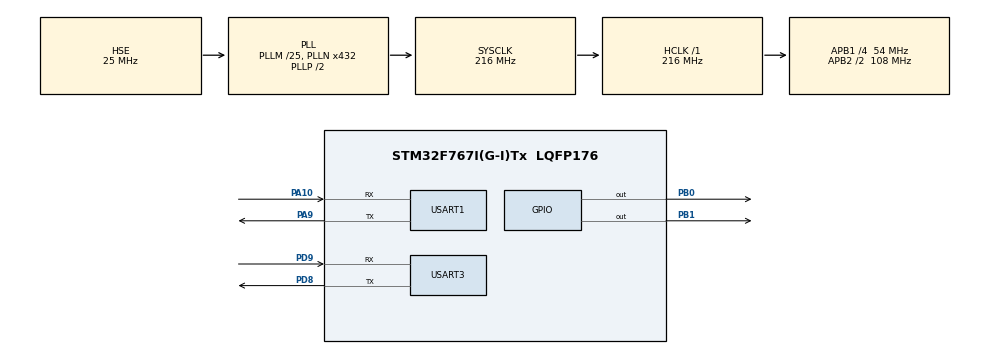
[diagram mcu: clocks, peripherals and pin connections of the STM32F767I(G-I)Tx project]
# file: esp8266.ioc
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CORTEX_M7.ART_ACCLERATOR_ENABLE=1
CORTEX_M7.CPU_DCache=Enabled
CORTEX_M7.CPU_ICache=Enabled
CORTEX_M7.PREFETCH_ENABLE=1
Mcu.Family=STM32F7
Mcu.Name=STM32F767I(G-I)Tx
Mcu.Package=LQFP176
NVIC.PriorityGroup=NVIC_PRIORITYGROUP_2
NVIC.TIM3_IRQn=true\:1\:3\:true\:false\:true
NVIC.USART1_IRQn=true\:3\:3\:true\:false\:true
NVIC.USART3_IRQn=true\:3\:2\:true\:false\:true
PA10.Mode=Asynchronous
PA10.Signal=USART1_RX
PA9.Mode=Asynchronous
PA9.Signal=USART1_TX
PB0.GPIO_Speed=GPIO_SPEED_FREQ_HIGH
PB0.Signal=GPIO_Output
PB1.GPIO_Speed=GPIO_SPEED_FREQ_HIGH
PB1.Signal=GPIO_Output
PD8.Mode=Asynchronous
PD8.Signal=USART3_TX
PD9.Mode=Asynchronous
PD9.Signal=USART3_RX
PH0/OSC_IN.Mode=HSE-External-Oscillator
PH0/OSC_IN.Signal=RCC_OSC_IN
PH1/OSC_OUT.Mode=HSE-External-Oscillator
PH1/OSC_OUT.Signal=RCC_OSC_OUT
ProjectManager.HeapSize=0x200
ProjectManager.StackSize=0x400
ProjectManager.TargetToolchain=MDK-ARM V5
RCC.AHBFreq_Value=216000000
RCC.APB1CLKDivider=RCC_HCLK_DIV4
RCC.APB1Freq_Value=54000000
RCC.APB1TimFreq_Value=108000000
RCC.APB2CLKDivider=RCC_HCLK_DIV2
RCC.APB2Freq_Value=108000000
RCC.APB2TimFreq_Value=216000000
RCC.CortexFreq_Value=216000000
RCC.HCLKFreq_Value=216000000
RCC.HSE_VALUE=25000000
RCC.HSI_VALUE=16000000
RCC.LSE_VALUE=32768
RCC.PLLM=25
RCC.PLLN=432
RCC.PLLSourceVirtual=RCC_PLLSOURCE_HSE
RCC.SYSCLKFreq_VALUE=216000000
RCC.SYSCLKSource=RCC_SYSCLKSOURCE_PLLCLK
RCC.USBFreq_Value=216000000
RCC.VCOOutputFreq_Value=432000000
TIM3.Period=4999
TIM3.Prescaler=10799
USART1.WordLength=UART_WORDLENGTH_8B
USART3.WordLength=UART_WORDLENGTH_8B
VP_TIM3_VS_ClockSourceINT.Mode=Internal
board=esp8266

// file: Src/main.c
/**
  ******************************************************************************
  * File Name          : main.c
  * Description        : Main program body
  ******************************************************************************
  *
  * COPYRIGHT(c) 2019 STMicroelectronics
  *
  * Redistribution and use in source and binary forms, with or without modification,
  * are permitted provided that the following conditions are met:
  *   1. Redistributions of source code must retain the above copyright notice,
  *      this list of conditions and the following disclaimer.
  *   2. Redistributions in binary form must reproduce the above copyright notice,
  *      this list of conditions and the following disclaimer in the documentation
  *      and/or other materials provided with the distribution.
  *   3. Neither the name of STMicroelectronics nor the names of its contributors
  *      may be used to endorse or promote products derived from this software
  *      without specific prior written permission.
  *
  * THIS SOFTWARE IS PROVIDED BY THE COPYRIGHT HOLDERS AND CONTRIBUTORS "AS IS"
  * AND ANY EXPRESS OR IMPLIED WARRANTIES, INCLUDING, BUT NOT LIMITED TO, THE
  * IMPLIED WARRANTIES OF MERCHANTABILITY AND FITNESS FOR A PARTICULAR PURPOSE ARE
  * DISCLAIMED. IN NO EVENT SHALL THE COPYRIGHT HOLDER OR CONTRIBUTORS BE LIABLE
  * FOR ANY DIRECT, INDIRECT, INCIDENTAL, SPECIAL, EXEMPLARY, OR CONSEQUENTIAL
  * DAMAGES (INCLUDING, BUT NOT LIMITED TO, PROCUREMENT OF SUBSTITUTE GOODS OR
  * SERVICES; LOSS OF USE, DATA, OR PROFITS; OR BUSINESS INTERRUPTION) HOWEVER
  * CAUSED AND ON ANY THEORY OF LIABILITY, WHETHER IN CONTRACT, STRICT LIABILITY,
  * OR TORT (INCLUDING NEGLIGENCE OR OTHERWISE) ARISING IN ANY WAY OUT OF THE USE
  * OF THIS SOFTWARE, EVEN IF ADVISED OF THE POSSIBILITY OF SUCH DAMAGE.
  *
  ******************************************************************************
  */
#include "stm32f7xx_hal.h"

/* USER CODE BEGIN Includes */
#include "esp8266cmd.h"
#include "string.h"
#include "cJSON.h"
/* USER CODE END Includes */

TIM_HandleTypeDef htim3;

UART_HandleTypeDef huart1;
UART_HandleTypeDef huart3;

/* USER CODE BEGIN PV */
/* Private variables ---------------------------------------------------------*/
char u3rxbuff[1];//接收缓冲
char esp8266Data[200];//需要的数据
int recDataL=-1;
char hasData='f';
char *request="{\"token\":\"oEMVz2PiKS\",\"need\":\"get\"}\r\n";//请求信息
/* USER CODE END PV */

void SystemClock_Config(void);
void Error_Handler(void);
static void MX_GPIO_Init(void);
static void MX_USART1_UART_Init(void);
static void MX_USART3_UART_Init(void);
static void MX_TIM3_Init(void);

/* USER CODE BEGIN PFP */
/* Private function prototypes -----------------------------------------------*/
void clearData(void);
void dealData(void);
char* itoa(int val, int base);//数字转字符串
/* USER CODE END PFP */

int main(void)
{

  /* Enable I-Cache-------------------------------------------------------------*/
  SCB_EnableICache();

  /* Enable D-Cache-------------------------------------------------------------*/
  SCB_EnableDCache();

  /* MCU Configuration----------------------------------------------------------*/

  /* Reset of all peripherals, Initializes the Flash interface and the Systick. */
  HAL_Init();

  /* Configure the system clock */
  SystemClock_Config();

  /* Initialize all configured peripherals */
  MX_GPIO_Init();
  MX_USART1_UART_Init();
  MX_USART3_UART_Init();
  MX_TIM3_Init();

  /* USER CODE BEGIN 2 */
	HAL_TIM_Base_Start_IT(&htim3); //

	HAL_UART_Receive_IT(&huart3, (uint8_t *)u3rxbuff, 1);//开始接收数据

	resetWifi(&huart3);//重置wifi
	HAL_Delay(3000);
	noEcho(&huart3);//取消命令回显
	linkWifi(&huart3);//连接wifi
	HAL_Delay(5000);

  /* USER CODE END 2 */

  /* Infinite loop */
  while (1)
  {

  /* USER CODE BEGIN 3 */
	if(hasData=='t')//如果有数据
	{
		dealData();//处理数据
	}
	char requestL[20]="AT+CIPSEND=";//发送数据长度命令 详看esp8266手册

	openTCP(&huart3);//打开连接
	HAL_Delay(1000);
	char *strl;
	strl=itoa(strlen(request),10);
	strcat(requestL,strl);
	strcat(requestL,"\r\n");

	sendCmd(&huart3,requestL);
  HAL_Delay(500);
	sendCmd(&huart3,request);//发送请求内容
	HAL_Delay(500);
		if(hasData=='t')
	{
		dealData();
	}
	//closeTCP(&huart3);//服务器自动关闭tcp，这里可以不关闭
	HAL_Delay(1000);
  }

  /* USER CODE END 3 */

}

/** System Clock Configuration
*/
void SystemClock_Config(void)
{

  RCC_OscInitTypeDef RCC_OscInitStruct;
  RCC_ClkInitTypeDef RCC_ClkInitStruct;
  RCC_PeriphCLKInitTypeDef PeriphClkInitStruct;

  __HAL_RCC_PWR_CLK_ENABLE();

  __HAL_PWR_VOLTAGESCALING_CONFIG(PWR_REGULATOR_VOLTAGE_SCALE1);

  RCC_OscInitStruct.OscillatorType = RCC_OSCILLATORTYPE_HSE;
  RCC_OscInitStruct.HSEState = RCC_HSE_ON;
  RCC_OscInitStruct.PLL.PLLState = RCC_PLL_ON;
  RCC_OscInitStruct.PLL.PLLSource = RCC_PLLSOURCE_HSE;
  RCC_OscInitStruct.PLL.PLLM = 25;
  RCC_OscInitStruct.PLL.PLLN = 432;
  RCC_OscInitStruct.PLL.PLLP = RCC_PLLP_DIV2;
  RCC_OscInitStruct.PLL.PLLQ = 2;
  if (HAL_RCC_OscConfig(&RCC_OscInitStruct) != HAL_OK)
  {
    Error_Handler();
  }

  if (HAL_PWREx_EnableOverDrive() != HAL_OK)
  {
    Error_Handler();
  }

  RCC_ClkInitStruct.ClockType = RCC_CLOCKTYPE_HCLK|RCC_CLOCKTYPE_SYSCLK
                              |RCC_CLOCKTYPE_PCLK1|RCC_CLOCKTYPE_PCLK2;
  RCC_ClkInitStruct.SYSCLKSource = RCC_SYSCLKSOURCE_PLLCLK;
  RCC_ClkInitStruct.AHBCLKDivider = RCC_SYSCLK_DIV1;
  RCC_ClkInitStruct.APB1CLKDivider = RCC_HCLK_DIV4;
  RCC_ClkInitStruct.APB2CLKDivider = RCC_HCLK_DIV2;
  if (HAL_RCC_ClockConfig(&RCC_ClkInitStruct, FLASH_LATENCY_7) != HAL_OK)
  {
    Error_Handler();
  }

  PeriphClkInitStruct.PeriphClockSelection = RCC_PERIPHCLK_USART1|RCC_PERIPHCLK_USART3;
  PeriphClkInitStruct.Usart1ClockSelection = RCC_USART1CLKSOURCE_PCLK2;
  PeriphClkInitStruct.Usart3ClockSelection = RCC_USART3CLKSOURCE_PCLK1;
  if (HAL_RCCEx_PeriphCLKConfig(&PeriphClkInitStruct) != HAL_OK)
  {
    Error_Handler();
  }

  HAL_SYSTICK_Config(HAL_RCC_GetHCLKFreq()/1000);

  HAL_SYSTICK_CLKSourceConfig(SYSTICK_CLKSOURCE_HCLK);

  /* SysTick_IRQn interrupt configuration */
  HAL_NVIC_SetPriority(SysTick_IRQn, 0, 0);
}

/* TIM3 init function */
static void MX_TIM3_Init(void)
{

  TIM_ClockConfigTypeDef sClockSourceConfig;
  TIM_MasterConfigTypeDef sMasterConfig;

  htim3.Instance = TIM3;
  htim3.Init.Prescaler = 10799;
  htim3.Init.CounterMode = TIM_COUNTERMODE_UP;
  htim3.Init.Period = 4999;
  htim3.Init.ClockDivision = TIM_CLOCKDIVISION_DIV1;
  if (HAL_TIM_Base_Init(&htim3) != HAL_OK)
  {
    Error_Handler();
  }

  sClockSourceConfig.ClockSource = TIM_CLOCKSOURCE_INTERNAL;
  if (HAL_TIM_ConfigClockSource(&htim3, &sClockSourceConfig) != HAL_OK)
  {
    Error_Handler();
  }

  sMasterConfig.MasterOutputTrigger = TIM_TRGO_RESET;
  sMasterConfig.MasterSlaveMode = TIM_MASTERSLAVEMODE_DISABLE;
  if (HAL_TIMEx_MasterConfigSynchronization(&htim3, &sMasterConfig) != HAL_OK)
  {
    Error_Handler();
  }

}

/* USART1 init function */
static void MX_USART1_UART_Init(void)
{

  huart1.Instance = USART1;
  huart1.Init.BaudRate = 115200;
  huart1.Init.WordLength = UART_WORDLENGTH_8B;
  huart1.Init.StopBits = UART_STOPBITS_1;
  huart1.Init.Parity = UART_PARITY_NONE;
  huart1.Init.Mode = UART_MODE_TX_RX;
  huart1.Init.HwFlowCtl = UART_HWCONTROL_NONE;
  huart1.Init.OverSampling = UART_OVERSAMPLING_16;
  huart1.Init.OneBitSampling = UART_ONE_BIT_SAMPLE_DISABLE;
  huart1.AdvancedInit.AdvFeatureInit = UART_ADVFEATURE_NO_INIT;
  if (HAL_UART_Init(&huart1) != HAL_OK)
  {
    Error_Handler();
  }

}

/* USART3 init function */
static void MX_USART3_UART_Init(void)
{

  huart3.Instance = USART3;
  huart3.Init.BaudRate = 115200;
  huart3.Init.WordLength = UART_WORDLENGTH_8B;
  huart3.Init.StopBits = UART_STOPBITS_1;
  huart3.Init.Parity = UART_PARITY_NONE;
  huart3.Init.Mode = UART_MODE_TX_RX;
  huart3.Init.HwFlowCtl = UART_HWCONTROL_NONE;
  huart3.Init.OverSampling = UART_OVERSAMPLING_16;
  huart3.Init.OneBitSampling = UART_ONE_BIT_SAMPLE_DISABLE;
  huart3.AdvancedInit.AdvFeatureInit = UART_ADVFEATURE_NO_INIT;
  if (HAL_UART_Init(&huart3) != HAL_OK)
  {
    Error_Handler();
  }

}

/** Configure pins as
        * Analog
        * Input
        * Output
        * EVENT_OUT
        * EXTI
*/
static void MX_GPIO_Init(void)
{

  GPIO_InitTypeDef GPIO_InitStruct;

  /* GPIO Ports Clock Enable */
  __HAL_RCC_GPIOH_CLK_ENABLE();
  __HAL_RCC_GPIOB_CLK_ENABLE();
  __HAL_RCC_GPIOD_CLK_ENABLE();
  __HAL_RCC_GPIOA_CLK_ENABLE();

  /*Configure GPIO pin Output Level */
  HAL_GPIO_WritePin(GPIOB, GPIO_PIN_0|GPIO_PIN_1, GPIO_PIN_RESET);

  /*Configure GPIO pins : PB0 PB1 */
  GPIO_InitStruct.Pin = GPIO_PIN_0|GPIO_PIN_1;
  GPIO_InitStruct.Mode = GPIO_MODE_OUTPUT_PP;
  GPIO_InitStruct.Pull = GPIO_NOPULL;
  GPIO_InitStruct.Speed = GPIO_SPEED_FREQ_HIGH;
  HAL_GPIO_Init(GPIOB, &GPIO_InitStruct);

}

/* USER CODE BEGIN 4 */
void HAL_UART_RxCpltCallback(UART_HandleTypeDef *huart)//串口中断服务
{

    if(huart->Instance==USART3)//
    {
			if(u3rxbuff[0]=='{')//数据喀开始
			{
				recDataL=0;
				esp8266Data[recDataL]=u3rxbuff[0];
				recDataL=1;
			}
			else if(recDataL>=1)
			{
				esp8266Data[recDataL]=u3rxbuff[0];
				recDataL++;
				if(u3rxbuff[0]=='}')//数据结尾
				{
					esp8266Data[recDataL]='\0';
					hasData='t';
				}
			}
     HAL_UART_Receive_IT(&huart3, (uint8_t *)u3rxbuff, 1);

    }

}
void clearData(void)//清清除缓冲
{
	while(recDataL>=0)
	{
		esp8266Data[recDataL]='\0';
		recDataL--;
	}
	recDataL=-1;
	hasData='f';
}
void dealData()//处理数据
{
	cJSON *json=0,*value=0;
	//HAL_UART_Transmit(&huart1,(uint8_t*)esp8266Data,recDataL,0xffff);
		json = cJSON_Parse(esp8266Data);//数据转json
	if (json)
	{
		if(1 == cJSON_HasObjectItem(json,"data"))
		{
	 value = cJSON_GetObjectItem(json, "data"); //取出data数据
		if(strcmp("0",value->valuestring)==0)
	  HAL_GPIO_WritePin(GPIOB,GPIO_PIN_1,GPIO_PIN_SET);
		else
			HAL_GPIO_WritePin(GPIOB,GPIO_PIN_1,GPIO_PIN_RESET);
		}
		if(1 == cJSON_HasObjectItem(json,"time"))//取出服务器时间
		{
	   value = cJSON_GetObjectItem(json, "time");
			long time=value->valuedouble;
			long s=time%60;
	   	long m=time%3600/60;
		  long h=(time%(24*3600)/3600+8)%24;

			  char nowtime[30]="server time:",*second,*min,*hour;
        hour=itoa(h,10);
        strcat(nowtime,hour);
        strcat(nowtime,":");
        min=itoa(m,10);
        strcat(nowtime,min);
        strcat(nowtime,":");
        second=itoa(s,10);
        strcat(nowtime,second);
			strcat(nowtime,"\n");
			HAL_UART_Transmit(&huart1,(uint8_t*)nowtime,strlen(nowtime),0xffff);

		}

		cJSON_Delete(json);
	 }
	clearData();
}
void HAL_TIM_PeriodElapsedCallback(TIM_HandleTypeDef *htim)//定时器中断
{
    if(htim->Instance==TIM3)
		{
			HAL_GPIO_WritePin(GPIOB,GPIO_PIN_0,!HAL_GPIO_ReadPin(GPIOB,GPIO_PIN_0));//闪烁led
		}
}
char* itoa(int val, int base){

	static char buf[32] = {0};

	int i = 30;

	for(; val && i ; --i, val /= base)

		buf[i] = "0123456789abcdef"[val % base];

	return &buf[i+1];

}

/* USER CODE END 4 */

void Error_Handler(void)
{
  while(1)
  {
  }
}

/************************ (C) COPYRIGHT STMicroelectronics *****END OF FILE****/
